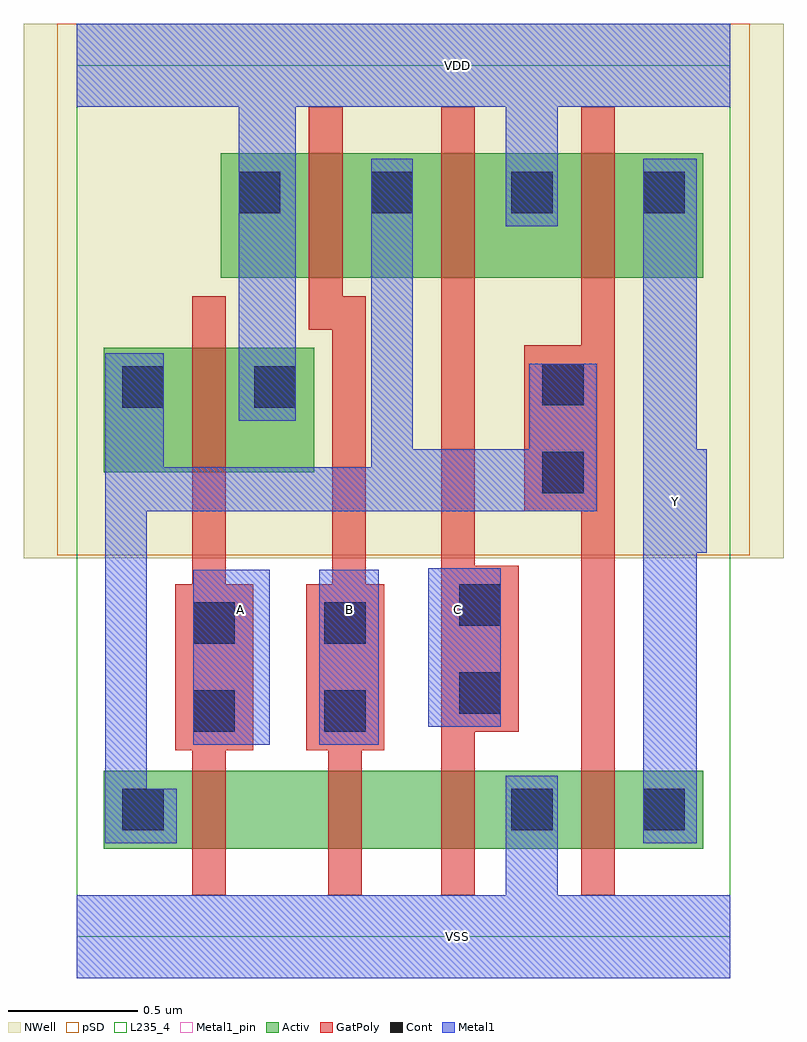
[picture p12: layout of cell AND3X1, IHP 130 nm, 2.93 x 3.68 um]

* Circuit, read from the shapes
.subckt AND3X1 A B C VDD VSS Y
XM1 n1 A n2 VSUBS sg13_lv_nmos w=0.3u l=0.13u
XM2 n3 B n1 VSUBS sg13_lv_nmos w=0.3u l=0.13u
XM3 VSS C n3 VSUBS sg13_lv_nmos w=0.3u l=0.13u
XM4 Y n2 VSS VSUBS sg13_lv_nmos w=0.3u l=0.13u
XM5 VDD A n2 n4 sg13_lv_pmos w=0.48u l=0.13u
XM6 n2 B VDD n4 sg13_lv_pmos w=0.48u l=0.13u
XM7 VDD C n2 n4 sg13_lv_pmos w=0.48u l=0.13u
XM8 Y n2 VDD n4 sg13_lv_pmos w=0.48u l=0.13u
.ends

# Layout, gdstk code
import gdstk
lib = gdstk.Library(unit=1e-6, precision=1e-09)
def R(c, l, rs):  # rectangles x0, y0, x1, y1
    for r in rs: c.add(gdstk.rectangle(r[:2], r[2:], *l))
def P(c, l, *ps):  # polygons
    for p in ps: c.add(gdstk.Polygon(p, *l))
Activ = (1, 0)
GatPoly = (5, 0)
Cont = (6, 0)
Metal1 = (8, 0)
Metal1_pin = (8, 2)
pSD = (14, 0)
NWell = (31, 0)
L235_4 = (235, 4)

and3x1 = lib.new_cell('AND3X1')
R(and3x1, Activ, [(0.105,0.34,2.415,0.64), (0.105,1.79,0.915,2.27), (0.555,2.54,2.415,3.02)])
P(and3x1, GatPoly, [(1.705,1.43),(1.535,1.43),(1.535,3.2),(1.405,3.2),(1.405,0.16),(1.535,0.16),(1.535,0.79),(1.705,0.79)],
  [(0.68,1.36),(0.575,1.36),(0.575,2.47),(0.445,2.47),(0.445,1.36),(0.38,1.36),(0.38,0.72),(0.445,0.72),(0.445,0.16),(0.575,0.16),(0.575,0.72),(0.68,0.72)],
  [(1.185,1.36),(1.115,1.36),(1.115,2.47),(1.025,2.47),(1.025,3.2),(0.895,3.2),(0.895,2.34),(0.985,2.34),(0.985,1.36),(0.885,1.36),(0.885,0.72),(0.97,0.72),(0.97,0.16),(1.1,0.16),(1.1,0.72),(1.185,0.72)],
  [(2.075,3.2),(1.945,3.2),(1.945,2.28),(1.725,2.28),(1.725,1.64),(1.945,1.64),(1.945,0.16),(2.075,0.16)])
R(and3x1, Cont, [(0.175,0.41,0.335,0.57), (1.675,0.41,1.835,0.57), (2.185,0.41,2.345,0.57), (0.45,0.79,0.61,0.95), (0.955,0.79,1.115,0.95), (1.475,0.86,1.635,1.02), (0.45,1.13,0.61,1.29), (0.955,1.13,1.115,1.29), (1.475,1.2,1.635,1.36), (1.795,1.71,1.955,1.87), (0.175,2.04,0.335,2.2), (0.685,2.04,0.845,2.2), (1.795,2.05,1.955,2.21), (0.625,2.79,0.785,2.95), (1.135,2.79,1.295,2.95), (1.675,2.79,1.835,2.95), (2.185,2.79,2.345,2.95)])
R(and3x1, Metal1, [(0.45,0.74,0.745,1.415), (0.935,0.74,1.165,1.415), (1.355,0.81,1.635,1.42)])
P(and3x1, Metal1, [(2.43,1.88),(2.39,1.88),(2.39,3),(2.185,3),(2.185,0.36),(2.39,0.36),(2.39,1.48),(2.43,1.48)],
  [(2.52,0.16),(1.855,0.16),(1.855,0.62),(1.655,0.62),(1.655,0.16),(0,0.16),(0,-0.16),(2.52,-0.16)],
  [(2.52,3.52),(0,3.52),(0,3.2),(0.625,3.2),(0.625,1.99),(0.845,1.99),(0.845,3.2),(1.655,3.2),(1.655,2.74),(1.855,2.74),(1.855,3.2),(2.52,3.2)],
  [(2.005,2.21),(1.745,2.21),(1.745,1.88),(1.295,1.88),(1.295,3),(1.135,3),(1.135,1.81),(0.335,1.81),(0.335,2.25),(0.11,2.25),(0.11,0.36),(0.385,0.36),(0.385,0.57),(0.27,0.57),(0.27,1.64),(2.005,1.64)])
R(and3x1, Metal1_pin, [(0,-0.16,2.52,0.16), (2.185,0.36,2.39,3), (0.45,0.74,0.745,1.415), (0.935,0.74,1.165,1.415), (1.355,0.81,1.635,1.42), (0,3.2,2.52,3.52)])
P(and3x1, Metal1_pin, [(2.52,3.52),(0,3.52),(0,3.2),(0.625,3.2),(0.625,1.99),(0.845,1.99),(0.845,3.2),(1.655,3.2),(1.655,2.74),(1.855,2.74),(1.855,3.2),(2.52,3.2)],
  [(2.43,1.88),(2.39,1.88),(2.39,3),(2.185,3),(2.185,0.36),(2.39,0.36),(2.39,1.48),(2.43,1.48)],
  [(2.52,0.16),(1.855,0.16),(1.855,0.62),(1.655,0.62),(1.655,0.16),(0,0.16),(0,-0.16),(2.52,-0.16)])
R(and3x1, pSD, [(-0.075,1.47,2.595,3.52)])
R(and3x1, NWell, [(-0.205,1.46,2.725,3.52)])
R(and3x1, L235_4, [(0,0,2.52,3.36)])
and3x1.add(gdstk.Label('VSS', (1.47,0), layer=8, texttype=25))
and3x1.add(gdstk.Label('VDD', (1.47,3.36), layer=8, texttype=25))
and3x1.add(gdstk.Label('Y', (2.31,1.68), layer=8, texttype=25))
and3x1.add(gdstk.Label('B', (1.05,1.26), layer=8, texttype=25))
and3x1.add(gdstk.Label('A', (0.63,1.26), layer=8, texttype=25))
and3x1.add(gdstk.Label('C', (1.47,1.26), layer=8, texttype=25))

lib.write_gds('AND3X1.gds')
